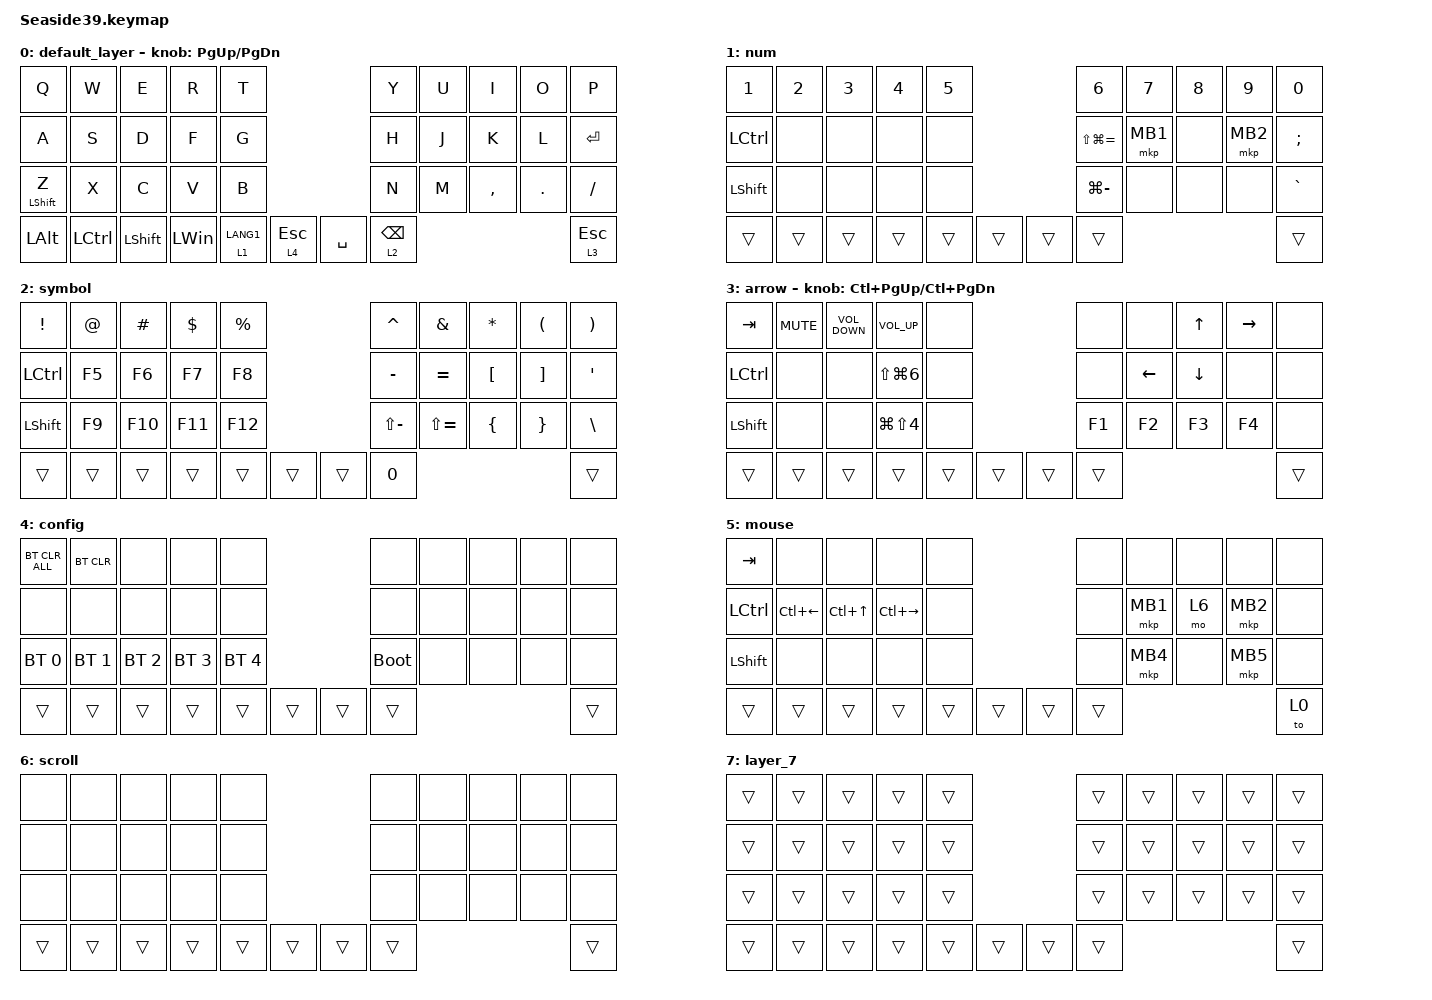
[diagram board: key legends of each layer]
#include <behaviors.dtsi>
#include <dt-bindings/zmk/bt.h>
#include <dt-bindings/zmk/keys.h>
#include <dt-bindings/zmk/pointing.h>

#define MOUSE 4
#define SCROLL 5
#define NUM 6

&mt {
    flavor = "balanced";
    quick-tap-ms = <300>;
};

&lt {
    flavor = "balanced";
    quick-tap-ms = <300>;
};

/ {
    combos { compatible = "zmk,combos"; };

    macros {
        to_layer_0: to_layer_0 {
            compatible = "zmk,behavior-macro-one-param";
            #binding-cells = <1>;
            bindings = <&to 0 &macro_param_1to1 &kp MACRO_PLACEHOLDER>;
            label = "TO_LAYER_0";
        };
    };

    behaviors {
        lt_to_layer_0: lt_to_layer_0 {
            compatible = "zmk,behavior-hold-tap";
            label = "LAYER_TAP_TO_0";
            bindings = <&mo>, <&to_layer_0>;

            #binding-cells = <2>;
            tapping-term-ms = <200>;
        };
    };

    keymap {
        compatible = "zmk,keymap";

        default_layer {
            bindings = <
&kp Q             &kp W      &kp E           &kp R         &kp T                                     &kp Y       &kp U  &kp I      &kp O       &kp P
&kp A             &kp S      &kp D           &kp F         &kp G                                     &kp H       &kp J  &kp K      &kp L       &kp ENTER
&mt LEFT_SHIFT Z  &kp X      &kp C           &kp V         &kp B                                     &kp N       &kp M  &kp COMMA  &kp PERIOD  &kp SLASH
&kp LEFT_ALT      &kp LCTRL  &kp LEFT_SHIFT  &kp LEFT_WIN  &lt 1 LANG1  &lt 4 ESCAPE      &kp SPACE  &lt 2 BSPC                                &lt 3 ESCAPE
            >;

            sensor-bindings = <&inc_dec_kp PG_UP PAGE_DOWN>;
        };

        num {
            bindings = <
&kp NUMBER_1    &kp NUMBER_2  &kp NUMBER_3  &kp NUMBER_4  &kp NUMBER_5                      &kp NUMBER_6       &kp NUMBER_7  &kp NUMBER_8  &kp NUMBER_9  &kp NUMBER_0
&kp LCTRL       &none         &none         &none         &none                             &kp LS(LG(EQUAL))  &mkp MB1      &none         &mkp MB2      &kp SEMICOLON
&kp LEFT_SHIFT  &none         &none         &none         &none                             &kp LG(MINUS)      &none         &none         &none         &kp GRAVE
&trans          &trans        &trans        &trans        &trans        &trans      &trans  &trans                                                       &trans
            >;
        };

        symbol {
            bindings = <
&kp EXCLAMATION  &kp AT_SIGN  &kp POUND  &kp DOLLAR  &kp PERCENT                      &kp CARET      &kp AMPERSAND  &kp ASTERISK      &kp LEFT_PARENTHESIS  &kp RIGHT_PARENTHESIS
&kp LCTRL        &kp F5       &kp F6     &kp F7      &kp F8                           &kp MINUS      &kp EQUAL      &kp LEFT_BRACKET  &kp RIGHT_BRACKET     &kp SQT
&kp LEFT_SHIFT   &kp F9       &kp F10    &kp F11     &kp F12                          &kp LS(MINUS)  &kp LS(EQUAL)  &kp LEFT_BRACE    &kp RIGHT_BRACE       &kp BACKSLASH
&trans           &trans       &trans     &trans      &trans       &trans      &trans  &kp NUMBER_0                                                          &trans
            >;
        };

        arrow {
            bindings = <
&kp TAB           &kp C_MUTE  &kp C_VOLUME_DOWN  &kp C_VOLUME_UP       &none                       &none   &none           &kp UP_ARROW    &kp RIGHT_ARROW  &none
&kp LEFT_CONTROL  &none       &none              &kp LS(LG(NUMBER_6))  &none                       &none   &kp LEFT_ARROW  &kp DOWN_ARROW  &none            &none
&kp LEFT_SHIFT    &none       &none              &kp LG(LS(NUMBER_4))  &none                       &kp F1  &kp F2          &kp F3          &kp F4           &none
&trans            &trans      &trans             &trans                &trans  &trans      &trans  &trans                                                   &trans
            >;

            sensor-bindings = <&inc_dec_kp LC(PAGE_UP) LC(PAGE_DOWN)>;
        };

        config {
            bindings = <
&bt BT_CLR_ALL  &bt BT_CLR    &none         &none         &none                             &none        &none  &none  &none  &none
&none           &none         &none         &none         &none                             &none        &none  &none  &none  &none
&bt BT_SEL 0    &bt BT_SEL 1  &bt BT_SEL 2  &bt BT_SEL 3  &bt BT_SEL 4                      &bootloader  &none  &none  &none  &none
&trans          &trans        &trans        &trans        &trans        &trans      &trans  &trans                            &trans
            >;
        };

        mouse {
            bindings = <
&kp TAB         &none               &none             &none                &none                       &none   &none     &none  &none     &none
&kp LCTRL       &kp LC(LEFT_ARROW)  &kp LC(UP_ARROW)  &kp LC(RIGHT_ARROW)  &none                       &none   &mkp MB1  &mo 6  &mkp MB2  &none
&kp LEFT_SHIFT  &none               &none             &none                &none                       &none   &mkp MB4  &none  &mkp MB5  &none
&trans          &trans              &trans            &trans               &trans  &trans      &trans  &trans                             &to 0
            >;
        };

        scroll {
            bindings = <
&none   &none   &none   &none   &none                       &none   &none  &none  &none  &none
&none   &none   &none   &none   &none                       &none   &none  &none  &none  &none
&none   &none   &none   &none   &none                       &none   &none  &none  &none  &none
&trans  &trans  &trans  &trans  &trans  &trans      &trans  &trans                       &trans
            >;
        };

        layer_7 {
            bindings = <
&trans  &trans  &trans  &trans  &trans                      &trans  &trans  &trans  &trans  &trans
&trans  &trans  &trans  &trans  &trans                      &trans  &trans  &trans  &trans  &trans
&trans  &trans  &trans  &trans  &trans                      &trans  &trans  &trans  &trans  &trans
&trans  &trans  &trans  &trans  &trans  &trans      &trans  &trans                          &trans
            >;
        };
    };
};
